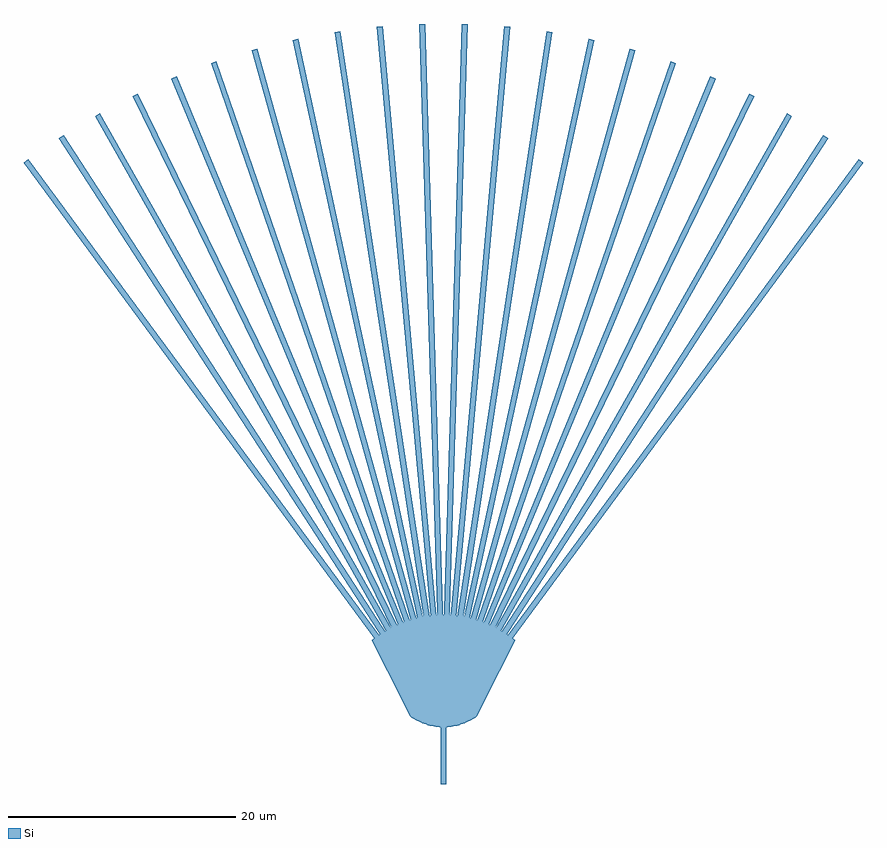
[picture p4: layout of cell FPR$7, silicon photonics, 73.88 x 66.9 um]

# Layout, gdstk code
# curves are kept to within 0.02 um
from math import pi, radians
import gdstk
lib = gdstk.Library(unit=1e-6, precision=1e-09)
def R(c, l, rs):  # rectangles x0, y0, x1, y1
    for r in rs: c.add(gdstk.rectangle(r[:2], r[2:], *l))
def P(c, l, *ps):  # polygons
    for p in ps: c.add(gdstk.Polygon(p, *l))
Si = (1, 0)

taper002_7 = lib.new_cell('taper002$7')
R(taper002_7, Si, [(-52,-0.25,2.5,0.25)])

boolean_7 = lib.new_cell('boolean$7')
P(boolean_7, Si, [(2.695,-6.307),(-3.967,-2.977),(-4.379,-2.329),(-4.717,-1.533),(-4.885,-0.861),(-4.96,0),(-4.885,0.861),(-4.717,1.533),(-4.379,2.329),(-3.967,2.977),(2.695,6.307),(3.264,5.547),(3.631,4.96),(3.956,4.349),(4.362,3.393),(4.576,2.734),(4.809,1.723),(4.906,1.037),(4.96,0),(4.906,-1.037),(4.809,-1.723),(4.576,-2.734),(4.362,-3.393),(3.956,-4.349),(3.631,-4.96),(3.264,-5.547)])

taper_7 = lib.new_cell('taper$7')
R(taper_7, Si, [(-5,-0.25,2.5,0.25)])

fpr_7 = lib.new_cell('FPR$7')
fpr_7.add(gdstk.Reference(taper002_7, (-50.526,3.025), rotation=radians(306.393), x_reflection=True))
fpr_7.add(gdstk.Reference(taper002_7, (-50.032,3.366), rotation=radians(302.927), x_reflection=True))
fpr_7.add(gdstk.Reference(taper002_7, (-48.441,4.203), rotation=radians(292.529), x_reflection=True))
fpr_7.add(gdstk.Reference(taper002_7, (-47.88,4.416), rotation=radians(289.063), x_reflection=True))
fpr_7.add(gdstk.Reference(taper002_7, (-47.307,4.595), rotation=radians(285.597), x_reflection=True))
fpr_7.add(gdstk.Reference(taper002_7, (-45.539,4.919), rotation=radians(275.199), x_reflection=True))
fpr_7.add(gdstk.Reference(taper002_7, (-44.94,4.955), rotation=radians(271.733), x_reflection=True))
fpr_7.add(gdstk.Reference(boolean_7, (-44.64,0), rotation=pi/2))
fpr_7.add(gdstk.Reference(taper_7, (-44.64,-4.96), rotation=pi/2))
fpr_7.add(gdstk.Reference(taper002_7, (-38.754,3.025), rotation=radians(233.607), x_reflection=True))
fpr_7.add(gdstk.Reference(taper002_7, (-39.761,3.677), rotation=radians(240.539), x_reflection=True))
fpr_7.add(gdstk.Reference(taper002_7, (-41.973,4.595), rotation=radians(254.403), x_reflection=True))
fpr_7.add(gdstk.Reference(taper002_7, (-48.988,3.956), rotation=radians(295.995), x_reflection=True))
fpr_7.add(gdstk.Reference(taper002_7, (-40.839,4.203), rotation=radians(247.471), x_reflection=True))
fpr_7.add(gdstk.Reference(taper002_7, (-49.519,3.677), rotation=radians(299.461), x_reflection=True))
fpr_7.add(gdstk.Reference(taper002_7, (-40.292,3.956), rotation=radians(244.005), x_reflection=True))
fpr_7.add(gdstk.Reference(taper002_7, (-42.555,4.738), rotation=radians(257.869), x_reflection=True))
fpr_7.add(gdstk.Reference(taper002_7, (-46.135,4.847), rotation=radians(278.665), x_reflection=True))
fpr_7.add(gdstk.Reference(taper002_7, (-44.34,4.955), rotation=radians(268.267), x_reflection=True))
fpr_7.add(gdstk.Reference(taper002_7, (-46.725,4.738), rotation=radians(282.131), x_reflection=True))
fpr_7.add(gdstk.Reference(taper002_7, (-39.248,3.366), rotation=radians(237.073), x_reflection=True))
fpr_7.add(gdstk.Reference(taper002_7, (-41.4,4.416), rotation=radians(250.937), x_reflection=True))
fpr_7.add(gdstk.Reference(taper002_7, (-43.145,4.847), rotation=radians(261.335), x_reflection=True))
fpr_7.add(gdstk.Reference(taper002_7, (-43.741,4.919), rotation=radians(264.801), x_reflection=True))

lib.write_gds('FPR_7.gds')
